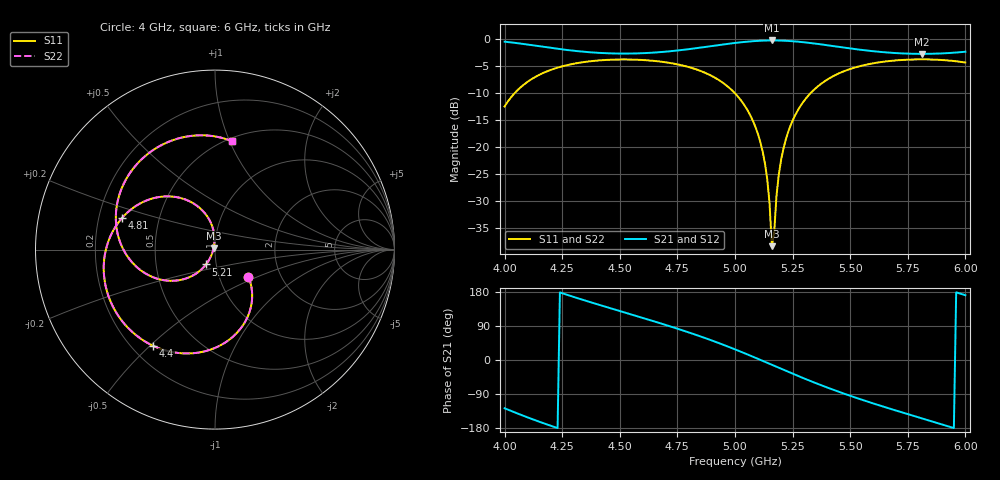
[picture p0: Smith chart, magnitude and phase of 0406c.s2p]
!freq-unit  param-type  data-format  keyword  impedance-ohms
# GHZ  S  RI  R  50
!Freq  ReS11  ImS11  ReS21  ImS21  ReS12  ImS12  ReS22  ImS22
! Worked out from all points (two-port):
!   201 points, 4 GHz to 6 GHz, reference 50 ohm
!   highest |S21| = -0.18 dB at 5.16 GHz (marker M1); lowest = -2.7 dB at 5.81 GHz (marker M2)
!   |S21| within 3 dB of the highest: start of sweep to end of sweep
!   lowest |S11| = -38.3 dB at 5.16 GHz (marker M3), VSWR 1.02, Z = 49.3 + j0.949 ohm
!   |S11| at or under -10 dB: start of sweep to 4.043 GHz; 5 GHz to 5.327 GHz (326.5 MHz wide, 6.32 % of centre)
!   |S22| runs from -38.3 to -3.7 dB; largest |S21 - S12| = 0
!   S11 on the Smith chart (normalised r, x): 4 GHz: 1.37, -0.44; 4.4 GHz: 0.28, -0.51; 4.81 GHz: 0.30, +0.15; 5.21 GHz: 0.89, -0.15; 6 GHz: 0.53, +1.02
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4  0.1857 -0.1515  -0.5798 -0.7577  -0.5798 -0.7577  0.1857 -0.1515
4.15  0.1338 -0.4506  -0.8272 -0.2565  -0.8272 -0.2565  0.1338 -0.4506
4.34  -0.2266 -0.5729  -0.7182 0.2804  -0.7182 0.2804  -0.2266 -0.5729
4.4  -0.3444 -0.5362  -0.6355 0.4056  -0.6355 0.4056  -0.3444 -0.5362
4.67  -0.6198 -0.09  -0.1066 0.7545  -0.1066 0.7545  -0.6198 -0.09
4.81  -0.5174 0.1769  0.2718 0.7726  0.2718 0.7726  -0.5174 0.1769
5  -0.1563 0.2757  0.8194 0.4378  0.8194 0.4378  -0.1563 0.2757
5.07  -0.044 0.1862  0.945 0.1781  0.945 0.1781  -0.044 0.1862
5.12  -0.00564 0.0914  0.9749 -0.0378  0.9749 -0.0378  -0.00564 0.0914
5.14  -0.00277 0.0504  0.9702 -0.1266  0.9702 -0.1266  -0.00277 0.0504
5.15  -0.00415 0.0299  0.9642 -0.1709  0.9642 -0.1709  -0.00415 0.0299
5.16  -0.0074 0.00963  0.9558 -0.2148  0.9558 -0.2148  -0.0074 0.00963
5.17  -0.0125 -0.0103  0.9449 -0.2582  0.9449 -0.2582  -0.0125 -0.0103
5.18  -0.0194 -0.0296  0.9316 -0.3009  0.9316 -0.3009  -0.0194 -0.0296
5.19  -0.028 -0.0482  0.916 -0.3428  0.916 -0.3428  -0.028 -0.0482
5.21  -0.0502 -0.0828  0.8782 -0.4233  0.8782 -0.4233  -0.0502 -0.0828
5.26  -0.1295 -0.1476  0.7501 -0.5993  0.7501 -0.5993  -0.1295 -0.1476
5.34  -0.292 -0.1694  0.4814 -0.7851  0.4814 -0.7851  -0.292 -0.1694
5.51  -0.5372 0.0672  -0.0935 -0.8153  -0.0935 -0.8153  -0.5372 0.0672
5.67  -0.496 0.391  -0.4649 -0.5949  -0.4649 -0.5949  -0.496 0.391
5.81  -0.2887 0.587  -0.6603 -0.3247  -0.6603 -0.3247  -0.2887 0.587
6  0.0931 0.6044  -0.7603 0.122  -0.7603 0.122  0.0931 0.6044
